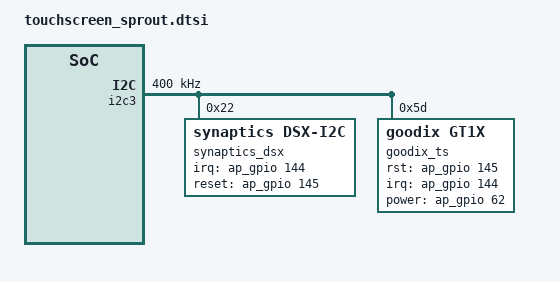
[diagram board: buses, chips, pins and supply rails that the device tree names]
&i2c3 {
	status = "okay";
	clock-frequency = <400000>;
	/delete-node/ adaptive-touchscreen@38;
	synaptics_dsx@22 {
		compatible = "synaptics,dsx-i2c";
		reg = <0x22>;
		synaptics,irq-gpio = <&ap_gpio 144 0x2008>;
		synaptics,reset-gpio = <&ap_gpio 145 0>;
/*		synaptics,power-gpio = <&ap_gpio 62 0>;*/
		synaptics,power-on-state = <1>;
		synaptics,irq-on-state = <0>;
		synaptics,reset-on-state = <0>;
		synaptics,power-delay-ms = <100>;
		synaptics,reset-delay-ms = <100>;
		synaptics,reset-active-ms = <20>;
	};
	goodix_ts@5d {
		compatible = "goodix,gt1x";
		reg = <0x5d>;
		goodix,rst-gpio = <&ap_gpio 145 0>;
		goodix,irq-gpio = <&ap_gpio 144 0x2008>;
		goodix,power-gpio = <&ap_gpio 62 0>;
	};
};
